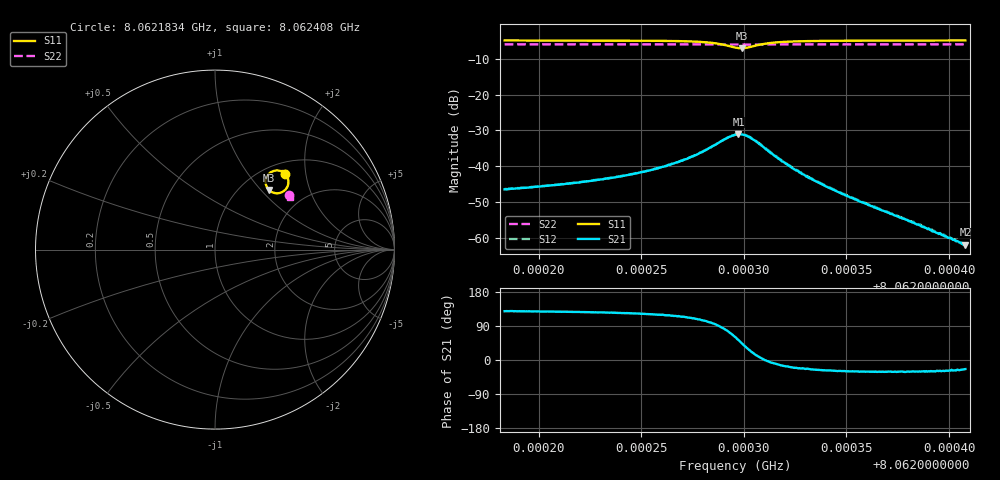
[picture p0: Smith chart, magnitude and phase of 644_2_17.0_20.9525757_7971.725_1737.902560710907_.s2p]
#  HZ  S  RI  R  50.00
! Rohde & Schwarz Vector Network Analyzer
! Rohde-Schwarz,ZNB20-2Port,1311601062101988,3.16
! Created: UTC 3/20/2024, 11:20:58 PM
! freq[Hz]  re:S11  im:S11  re:S21  im:S21  re:S12  im:S12  re:S22  im:S22
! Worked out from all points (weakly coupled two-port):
!   401 points, 8.0621834 GHz to 8.062408 GHz, reference 50 ohm
!   highest |S21| = -31.02 dB at 8.0622974 GHz (marker M1); lowest = -62.0 dB at 8.062408 GHz (marker M2)
!   lowest |S11| = -7.0 dB at 8.0622991 GHz (marker M3), VSWR 2.62, Z = 66.6 + j55.4 ohm
!   |S11| at or under -10 dB: nowhere
!   |S22| runs from -6.0 to -5.9 dB; largest |S21 - S12| = 0.0014
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8.06218342e9  0.3907 0.4229  -0.00297 0.00369  -0.00279 0.0039  0.4095 0.3014
8.0621997e9  0.393 0.4205  -0.00322 0.00406  -0.00296 0.00425  0.4103 0.3004
8.06222104e9  0.3963 0.4161  -0.00357 0.00482  -0.00332 0.00505  0.4109 0.2992
8.06224068e9  0.4005 0.4098  -0.00402 0.00601  -0.00375 0.00628  0.4115 0.298
8.06225865e9  0.4054 0.3993  -0.0047 0.00826  -0.00417 0.00854  0.4123 0.2966
8.062271e9  0.4089 0.3848  -0.00501 0.0113  -0.00426 0.0116  0.4126 0.2954
8.06227661e9  0.4091 0.3736  -0.00449 0.0135  -0.00377 0.0139  0.4127 0.2948
8.06228447e9  0.4025 0.349  -0.00247 0.0187  -0.00151 0.0187  0.4124 0.2932
8.06229008e9  0.3817 0.3251  0.00271 0.0232  0.00375 0.023  0.4115 0.2922
8.0622957e9  0.3331 0.3149  0.0133 0.0239  0.0145 0.0234  0.4094 0.2921
8.06229738e9  0.3158 0.3211  0.017 0.0224  0.0179 0.0216  0.4089 0.2927
8.06229906e9  0.3004 0.3326  0.0201 0.0192  0.021 0.0186  0.4084 0.2931
8.06230131e9  0.2865 0.3537  0.0223 0.0143  0.0233 0.0135  0.4081 0.2942
8.06230355e9  0.2819 0.3764  0.0227 0.00927  0.0235 0.00854  0.4082 0.2951
8.06231141e9  0.3046 0.4261  0.0168 -0.000823  0.017 -0.00157  0.4102 0.2966
8.06232096e9  0.3343 0.44  0.0102 -0.00307  0.0102 -0.00362  0.412 0.2964
8.06233331e9  0.3545 0.4404  0.00591 -0.00274  0.00587 -0.00317  0.4133 0.2954
8.06234846e9  0.3669 0.4373  0.00353 -0.00196  0.00345 -0.00219  0.4141 0.2945
8.06237092e9  0.376 0.4334  0.00189 -0.00113  0.00182 -0.00127  0.4152 0.293
8.06238495e9  0.3797 0.4313  0.0013 -0.00077  0.00128 -0.000863  0.4159 0.2923
8.06240179e9  0.3829 0.4294  0.000822 -0.000433  0.000839 -0.000457  0.4165 0.2912
8.06240796e9  0.3839 0.4286  0.000728 -0.000322  0.00067 -0.000353  0.4167 0.2909
